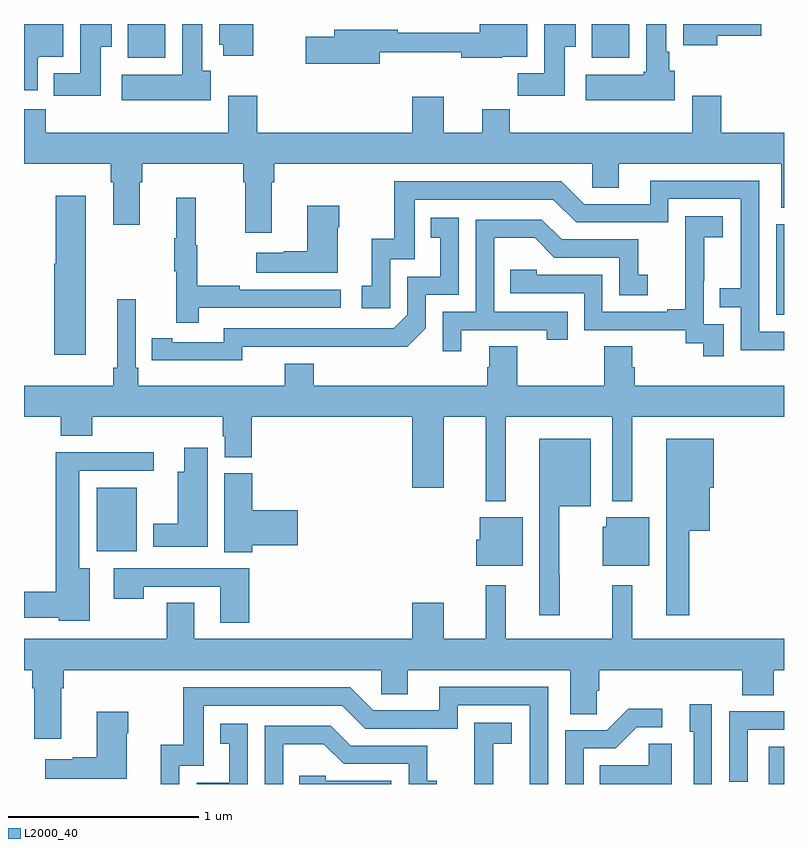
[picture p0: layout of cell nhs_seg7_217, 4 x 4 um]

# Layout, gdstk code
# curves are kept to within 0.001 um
import gdstk
lib = gdstk.Library(unit=1e-6, precision=1e-09)
def R(c, l, rs):  # rectangles x0, y0, x1, y1
    for r in rs: c.add(gdstk.rectangle(r[:2], r[2:], *l))
def P(c, l, *ps):  # polygons
    for p in ps: c.add(gdstk.Polygon(p, *l))
L2000_40 = (2000, 40)

nhs_seg7_217 = lib.new_cell('nhs_seg7_217')
R(nhs_seg7_217, L2000_40, [(130.919,1016,131,1016.197), (127.382,1017.224,127.594,1017.559), (130.959,1018.47,131,1018.947), (127.547,1019.822,127.744,1020), (129.989,1019.822,130.186,1020)])
P(nhs_seg7_217, L2000_40, [(130.426,1019.754),(130.396,1019.754),(130.396,1019.854),(130.381,1019.854),(130.381,1020),(130.274,1020),(130.274,1019.748),(130.261,1019.748),(130.261,1019.734),(129.957,1019.734),(129.957,1019.6),(130.426,1019.6)],
  [(128.872,1019.851),(129.302,1019.851),(129.302,1019.822),(129.516,1019.822),(129.516,1019.828),(129.649,1019.828),(129.649,1020),(129.398,1020),(129.398,1019.954),(128.968,1019.954),(128.968,1019.969),(128.633,1019.969),(128.633,1019.933),(128.483,1019.933),(128.483,1019.791),(128.872,1019.791)],
  [(127.984,1019.754),(127.939,1019.754),(127.939,1020),(127.832,1020),(127.832,1019.734),(127.515,1019.734),(127.515,1019.6),(127.984,1019.6)],
  [(127.072,1019.822),(127.078,1019.822),(127.078,1019.828),(127.207,1019.828),(127.207,1020),(127,1020),(127,1019.652),(127.072,1019.652)],
  [(127.405,1019.881),(127.462,1019.881),(127.462,1020),(127.295,1020),(127.295,1019.74),(127.157,1019.74),(127.157,1019.622),(127.405,1019.622)],
  [(129.847,1019.881),(129.904,1019.881),(129.904,1020),(129.737,1020),(129.737,1019.74),(129.598,1019.74),(129.598,1019.622),(129.847,1019.622)],
  [(130.648,1019.939),(130.879,1019.939),(130.879,1020),(130.469,1020),(130.469,1019.888),(130.648,1019.888)],
  [(128.206,1020),(128.027,1020),(128.027,1019.892),(128.048,1019.892),(128.048,1019.832),(128.206,1019.832)],
  [(128.305,1019.168),(128.318,1019.168),(128.318,1019.264),(129.99,1019.264),(129.99,1019.137),(130.129,1019.137),(130.129,1019.264),(130.985,1019.264),(130.985,1019.032),(131,1019.032),(131,1019.428),(130.67,1019.428),(130.67,1019.623),(130.517,1019.623),(130.517,1019.428),(129.557,1019.428),(129.557,1019.552),(129.413,1019.552),(129.413,1019.428),(129.208,1019.428),(129.208,1019.617),(129.044,1019.617),(129.044,1019.428),(128.227,1019.428),(128.227,1019.623),(128.075,1019.623),(128.075,1019.428),(127.115,1019.428),(127.115,1019.552),(127,1019.552),(127,1019.264),(127.457,1019.264),(127.457,1019.168),(127.469,1019.168),(127.469,1018.944),(127.609,1018.944),(127.609,1019.168),(127.622,1019.168),(127.622,1019.264),(128.153,1019.264),(128.153,1019.168),(128.165,1019.168),(128.165,1018.902),(128.305,1018.902)],
  [(131,1018.38),(130.869,1018.38),(130.869,1019.175),(130.295,1019.175),(130.295,1019.052),(129.948,1019.052),(129.828,1019.172),(128.949,1019.172),(128.949,1018.87),(128.831,1018.87),(128.831,1018.623),(128.778,1018.623),(128.778,1018.503),(128.928,1018.503),(128.928,1018.761),(129.057,1018.761),(129.057,1019.076),(129.786,1019.076),(129.906,1018.956),(130.392,1018.956),(130.392,1019.079),(130.773,1019.079),(130.773,1018.61),(130.663,1018.61),(130.663,1018.509),(130.773,1018.509),(130.773,1018.284),(131,1018.284)],
  [(127.324,1019.095),(127.166,1019.095),(127.166,1018.737),(127.16,1018.737),(127.16,1018.26),(127.324,1018.26)],
  [(127.919,1018.506),(128.668,1018.506),(128.668,1018.602),(128.135,1018.602),(128.135,1018.622),(127.912,1018.622),(127.912,1018.836),(127.904,1018.836),(127.904,1019.086),(127.802,1019.086),(127.802,1018.873),(127.791,1018.873),(127.791,1018.699),(127.802,1018.699),(127.802,1018.428),(127.919,1018.428)],
  [(128.65,1018.931),(128.658,1018.931),(128.658,1019.044),(128.492,1019.044),(128.492,1018.805),(128.366,1018.805),(128.366,1018.795),(128.223,1018.795),(128.223,1018.691),(128.65,1018.691)],
  [(130.683,1018.419),(130.578,1018.419),(130.578,1018.649),(130.58,1018.649),(130.58,1018.877),(130.678,1018.877),(130.678,1018.987),(130.48,1018.987),(130.48,1018.781),(130.481,1018.781),(130.481,1018.498),(130.385,1018.498),(130.385,1018.485),(130.044,1018.485),(130.044,1018.68),(129.699,1018.68),(129.699,1018.707),(129.559,1018.707),(129.559,1018.584),(129.948,1018.584),(129.948,1018.389),(130.482,1018.389),(130.482,1018.321),(130.575,1018.321),(130.575,1018.251),(130.683,1018.251)],
  [(128.148,1018.302),(129.016,1018.301),(129.114,1018.398),(129.114,1018.575),(129.288,1018.575),(129.288,1018.981),(129.142,1018.981),(129.142,1018.875),(129.191,1018.875),(129.191,1018.671),(129.018,1018.671),(129.018,1018.47),(128.946,1018.398),(128.052,1018.398),(128.052,1018.326),(127.78,1018.326),(127.78,1018.346),(127.672,1018.346),(127.672,1018.23),(128.148,1018.229)],
  [(129.301,1018.389),(129.752,1018.389),(129.752,1018.338),(129.863,1018.338),(129.863,1018.485),(129.474,1018.485),(129.474,1018.874),(129.688,1018.874),(129.792,1018.77),(130.134,1018.77),(130.134,1018.572),(130.282,1018.572),(130.282,1018.681),(130.233,1018.681),(130.233,1018.866),(129.829,1018.866),(129.724,1018.971),(129.378,1018.971),(129.378,1018.485),(129.204,1018.485),(129.204,1018.278),(129.301,1018.278)],
  [(129.535,1017.932),(130.097,1017.932),(130.097,1017.488),(130.201,1017.488),(130.201,1017.932),(131,1017.932),(131,1018.096),(130.214,1018.096),(130.214,1018.194),(130.201,1018.194),(130.201,1018.304),(130.054,1018.304),(130.054,1018.096),(129.597,1018.096),(129.597,1018.304),(129.449,1018.304),(129.449,1018.194),(129.437,1018.194),(129.437,1018.096),(128.525,1018.096),(128.525,1018.213),(128.372,1018.213),(128.372,1018.096),(127.601,1018.096),(127.601,1018.192),(127.587,1018.192),(127.587,1018.552),(127.49,1018.552),(127.49,1018.192),(127.471,1018.192),(127.471,1018.096),(127,1018.096),(127,1017.932),(127.193,1017.932),(127.193,1017.833),(127.358,1017.833),(127.358,1017.932),(128.045,1017.932),(128.045,1017.831),(128.057,1017.831),(128.057,1017.721),(128.198,1017.721),(128.198,1017.932),(129.044,1017.932),(129.044,1017.558),(129.208,1017.558),(129.208,1017.932),(129.431,1017.932),(129.431,1017.488),(129.535,1017.488)],
  [(130.501,1017.332),(130.609,1017.332),(130.609,1017.558),(130.63,1017.558),(130.63,1017.817),(130.379,1017.817),(130.379,1016.889),(130.501,1016.889)],
  [(129.82,1017.101),(129.817,1017.101),(129.817,1017.461),(129.982,1017.461),(129.982,1017.817),(129.713,1017.817),(129.713,1016.889),(129.82,1016.889)],
  [(127.966,1017.769),(127.844,1017.769),(127.844,1017.643),(127.808,1017.643),(127.808,1017.37),(127.679,1017.37),(127.679,1017.248),(127.966,1017.248)],
  [(127.345,1017.136),(127.291,1017.136),(127.291,1017.648),(127.684,1017.648),(127.684,1017.746),(127.166,1017.746),(127.166,1017.011),(127,1017.011),(127,1016.876),(127.182,1016.876),(127.182,1016.858),(127.345,1016.858)],
  [(128.201,1017.257),(128.44,1017.257),(128.44,1017.44),(128.201,1017.44),(128.201,1017.636),(128.054,1017.636),(128.054,1017.22),(128.201,1017.22)],
  [(130.291,1017.403),(130.064,1017.403),(130.064,1017.354),(130.046,1017.354),(130.046,1017.149),(130.291,1017.149)],
  [(129.625,1017.403),(129.398,1017.403),(129.398,1017.285),(129.38,1017.285),(129.38,1017.149),(129.625,1017.149)],
  [(128.186,1017.135),(127.473,1017.135),(127.473,1016.976),(127.629,1016.976),(127.629,1017.039),(128.033,1017.039),(128.033,1016.85),(128.186,1016.85)],
  [(127.195,1016.504),(127.208,1016.504),(127.208,1016.6),(128.88,1016.6),(128.88,1016.473),(129.019,1016.473),(129.019,1016.6),(129.875,1016.6),(129.875,1016.368),(130.014,1016.368),(130.014,1016.491),(130.028,1016.491),(130.028,1016.6),(130.781,1016.6),(130.781,1016.467),(130.946,1016.467),(130.946,1016.6),(131,1016.6),(131,1016.764),(130.201,1016.764),(130.201,1017.046),(130.095,1017.046),(130.095,1016.764),(129.535,1016.764),(129.535,1017.046),(129.431,1017.046),(129.431,1016.764),(129.208,1016.764),(129.208,1016.953),(129.044,1016.953),(129.044,1016.764),(127.897,1016.764),(127.897,1016.954),(127.75,1016.954),(127.75,1016.764),(127,1016.764),(127,1016.6),(127.043,1016.6),(127.043,1016.504),(127.055,1016.504),(127.055,1016.238),(127.195,1016.238)],
  [(127.818,1016.097),(127.947,1016.097),(127.947,1016.412),(128.676,1016.412),(128.796,1016.292),(129.282,1016.292),(129.282,1016.415),(129.663,1016.415),(129.663,1016),(129.759,1016),(129.759,1016.511),(129.185,1016.511),(129.185,1016.388),(128.838,1016.388),(128.718,1016.508),(127.839,1016.508),(127.839,1016.206),(127.721,1016.206),(127.721,1016),(127.818,1016)],
  [(130.62,1016.419),(130.505,1016.419),(130.505,1016.274),(130.524,1016.274),(130.524,1016),(130.62,1016)],
  [(129.945,1016.187),(130.114,1016.187),(130.225,1016.298),(130.36,1016.298),(130.36,1016.396),(130.181,1016.396),(130.068,1016.283),(129.849,1016.283),(129.849,1016),(129.945,1016)],
  [(130.809,1016.286),(131,1016.286),(131,1016.382),(130.713,1016.382),(130.713,1016.013),(130.809,1016.013)],
  [(127.54,1016.267),(127.548,1016.267),(127.548,1016.38),(127.382,1016.38),(127.382,1016.141),(127.256,1016.141),(127.256,1016.131),(127.113,1016.131),(127.113,1016.027),(127.54,1016.027)],
  [(129.47,1016.213),(129.568,1016.213),(129.568,1016.323),(129.37,1016.323),(129.37,1016.117),(129.371,1016.117),(129.371,1016),(129.47,1016)],
  [(128.178,1016.317),(128.032,1016.317),(128.032,1016.211),(128.081,1016.211),(128.081,1016.007),(127.908,1016.007),(127.908,1016),(128.178,1016)],
  [(128.364,1016.21),(128.578,1016.21),(128.682,1016.106),(129.024,1016.106),(129.024,1016),(129.172,1016),(129.172,1016.017),(129.123,1016.017),(129.123,1016.202),(128.719,1016.202),(128.614,1016.307),(128.268,1016.307),(128.268,1016),(128.364,1016)],
  [(130.408,1016.213),(130.287,1016.213),(130.287,1016.098),(130.03,1016.098),(130.03,1016),(130.408,1016)],
  [(128.934,1016.016),(128.589,1016.016),(128.589,1016.043),(128.449,1016.043),(128.449,1016),(128.934,1016)])

lib.write_gds('nhs_seg7_217.gds')
